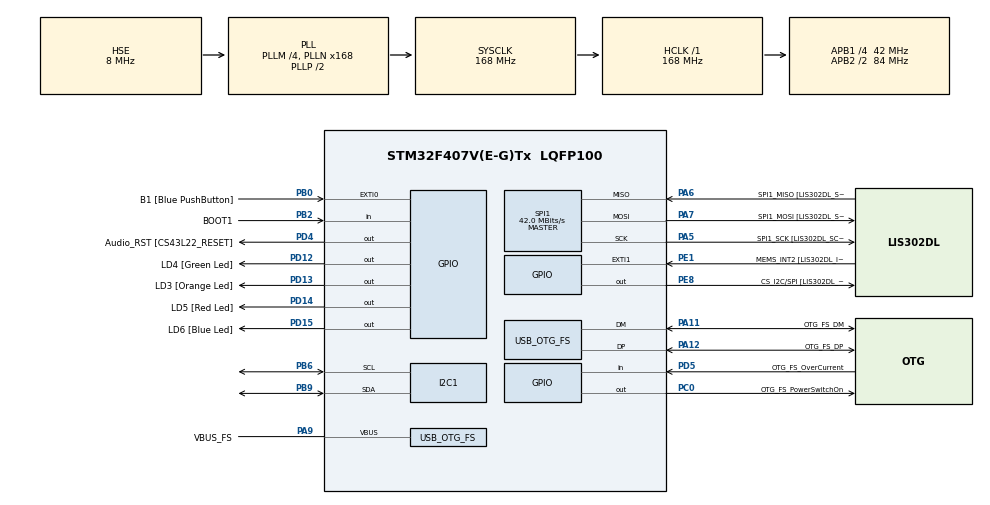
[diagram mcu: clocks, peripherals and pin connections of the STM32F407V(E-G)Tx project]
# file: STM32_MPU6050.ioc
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Mcu.Family=STM32F4
Mcu.Name=STM32F407V(E-G)Tx
Mcu.Package=LQFP100
NVIC.OTG_FS_IRQn=true\:0\:0\:false\:false\:true\:true\:true
NVIC.PriorityGroup=NVIC_PRIORITYGROUP_0
PA10.GPIO_Label=OTG_FS_ID
PA10.GPIO_Mode=GPIO_MODE_AF_PP
PA10.GPIO_PuPd=GPIO_NOPULL
PA10.GPIO_Speed=GPIO_SPEED_FREQ_LOW
PA10.Signal=USB_OTG_FS_ID
PA11.GPIO_Label=OTG_FS_DM
PA11.GPIO_Mode=GPIO_MODE_AF_PP
PA11.GPIO_PuPd=GPIO_NOPULL
PA11.GPIO_Speed=GPIO_SPEED_FREQ_LOW
PA11.Mode=Host_Only
PA11.Signal=USB_OTG_FS_DM
PA12.GPIO_Label=OTG_FS_DP
PA12.GPIO_Mode=GPIO_MODE_AF_PP
PA12.GPIO_PuPd=GPIO_NOPULL
PA12.GPIO_Speed=GPIO_SPEED_FREQ_LOW
PA12.Mode=Host_Only
PA12.Signal=USB_OTG_FS_DP
PA13.GPIO_Label=SWDIO
PA13.Mode=Serial_Wire
PA13.Signal=SYS_JTMS-SWDIO
PA14.GPIO_Label=SWCLK
PA14.Mode=Serial_Wire
PA14.Signal=SYS_JTCK-SWCLK
PA4.GPIO_Label=I2S3_WS [CS43L22_LRCK]
PA4.GPIO_Mode=GPIO_MODE_AF_PP
PA4.GPIO_PuPd=GPIO_NOPULL
PA4.GPIO_Speed=GPIO_SPEED_FREQ_LOW
PA4.Signal=I2S3_WS
PA5.GPIO_Label=SPI1_SCK [LIS302DL_SCL/SPC]
PA5.GPIO_Mode=GPIO_MODE_AF_PP
PA5.GPIO_PuPd=GPIO_NOPULL
PA5.GPIO_Speed=GPIO_SPEED_FREQ_LOW
PA5.Mode=Full_Duplex_Master
PA5.Signal=SPI1_SCK
PA6.GPIO_Label=SPI1_MISO [LIS302DL_SDO]
PA6.GPIO_Mode=GPIO_MODE_AF_PP
PA6.GPIO_PuPd=GPIO_NOPULL
PA6.GPIO_Speed=GPIO_SPEED_FREQ_LOW
PA6.Mode=Full_Duplex_Master
PA6.Signal=SPI1_MISO
PA7.GPIO_Label=SPI1_MOSI [LIS302DL_SDA/SDI/SDO]
PA7.GPIO_Mode=GPIO_MODE_AF_PP
PA7.GPIO_PuPd=GPIO_NOPULL
PA7.GPIO_Speed=GPIO_SPEED_FREQ_LOW
PA7.Mode=Full_Duplex_Master
PA7.Signal=SPI1_MOSI
PA9.GPIO_Label=VBUS_FS
PA9.GPIO_Mode=GPIO_MODE_INPUT
PA9.GPIO_PuPd=GPIO_NOPULL
PA9.Mode=Activate_VBUS
PA9.Signal=USB_OTG_FS_VBUS
PB0.GPIO_Label=B1 [Blue PushButton]
PB0.GPIO_ModeDefaultEXTI=GPIO_MODE_EVT_RISING
PB0.GPIO_PuPd=GPIO_NOPULL
PB0.Signal=GPXTI0
PB10.GPIO_Label=CLK_IN [MP45DT02_CLK]
PB10.GPIO_Mode=GPIO_MODE_AF_PP
PB10.GPIO_PuPd=GPIO_NOPULL
PB10.GPIO_Speed=GPIO_SPEED_FREQ_LOW
PB10.Signal=I2S2_CK
PB2.GPIO_Label=BOOT1
PB2.GPIO_Mode=GPIO_MODE_INPUT
PB2.GPIO_PuPd=GPIO_NOPULL
PB2.Signal=GPIO_Input
PB3.GPIO_Label=SWO
PB3.Signal=SYS_JTDO-SWO
PB6.Mode=I2C
PB6.Signal=I2C1_SCL
PB9.Mode=I2C
PB9.Signal=I2C1_SDA
PC0.GPIO_Label=OTG_FS_PowerSwitchOn
PC0.GPIO_PuPd=GPIO_NOPULL
PC0.GPIO_Speed=GPIO_SPEED_FREQ_LOW
PC0.PinState=GPIO_PIN_SET
PC0.Signal=GPIO_Output
PC10.GPIO_Label=I2S3_SCK [CS43L22_SCLK]
PC10.GPIO_Mode=GPIO_MODE_AF_PP
PC10.GPIO_PuPd=GPIO_NOPULL
PC10.GPIO_Speed=GPIO_SPEED_FREQ_LOW
PC10.Signal=I2S3_CK
PC12.GPIO_Label=I2S3_SD [CS43L22_SDIN]
PC12.GPIO_Mode=GPIO_MODE_AF_PP
PC12.GPIO_PuPd=GPIO_NOPULL
PC12.GPIO_Speed=GPIO_SPEED_FREQ_LOW
PC12.Signal=I2S3_SD
PC14-OSC32_IN.GPIO_Label=PC14-OSC32_IN
PC14-OSC32_IN.Signal=RCC_OSC32_IN
PC15-OSC32_OUT.GPIO_Label=PC15-OSC32_OUT
PC15-OSC32_OUT.Signal=RCC_OSC32_OUT
PC3.GPIO_Label=PDM_OUT [MP45DT02_DOUT]
PC3.GPIO_Mode=GPIO_MODE_AF_PP
PC3.GPIO_PuPd=GPIO_NOPULL
PC3.GPIO_Speed=GPIO_SPEED_FREQ_LOW
PC3.Signal=I2S2_SD
PC7.GPIO_Label=I2S3_MCK [CS43L22_MCLK]
PC7.GPIO_Mode=GPIO_MODE_AF_PP
PC7.GPIO_PuPd=GPIO_NOPULL
PC7.GPIO_Speed=GPIO_SPEED_FREQ_LOW
PC7.Signal=I2S3_MCK
PD12.GPIO_Label=LD4 [Green Led]
PD12.GPIO_PuPd=GPIO_NOPULL
PD12.GPIO_Speed=GPIO_SPEED_FREQ_LOW
PD12.Signal=GPIO_Output
PD13.GPIO_Label=LD3 [Orange Led]
PD13.GPIO_PuPd=GPIO_NOPULL
PD13.GPIO_Speed=GPIO_SPEED_FREQ_LOW
PD13.Signal=GPIO_Output
PD14.GPIO_Label=LD5 [Red Led]
PD14.GPIO_PuPd=GPIO_NOPULL
PD14.GPIO_Speed=GPIO_SPEED_FREQ_LOW
PD14.Signal=GPIO_Output
PD15.GPIO_Label=LD6 [Blue Led]
PD15.GPIO_PuPd=GPIO_NOPULL
PD15.GPIO_Speed=GPIO_SPEED_FREQ_LOW
PD15.Signal=GPIO_Output
PD4.GPIO_Label=Audio_RST [CS43L22_RESET]
PD4.GPIO_PuPd=GPIO_NOPULL
PD4.GPIO_Speed=GPIO_SPEED_FREQ_LOW
PD4.Signal=GPIO_Output
PD5.GPIO_Label=OTG_FS_OverCurrent
PD5.GPIO_Mode=GPIO_MODE_INPUT
PD5.GPIO_PuPd=GPIO_NOPULL
PD5.Signal=GPIO_Input
PE1.GPIO_Label=MEMS_INT2 [LIS302DL_INT2]
PE1.GPIO_ModeDefaultEXTI=GPIO_MODE_EVT_RISING
PE1.GPIO_PuPd=GPIO_NOPULL
PE1.Signal=GPXTI1
PE8.GPIO_Label=CS_I2C/SPI [LIS302DL_CS_I2C/SPI]
PE8.GPIO_PuPd=GPIO_NOPULL
PE8.GPIO_Speed=GPIO_SPEED_FREQ_LOW
PE8.Signal=GPIO_Output
PH0-OSC_IN.GPIO_Label=PH0-OSC_IN
PH0-OSC_IN.Mode=HSE-External-Oscillator
PH0-OSC_IN.Signal=RCC_OSC_IN
PH1-OSC_OUT.GPIO_Label=PH1-OSC_OUT
PH1-OSC_OUT.Mode=HSE-External-Oscillator
PH1-OSC_OUT.Signal=RCC_OSC_OUT
ProjectManager.HeapSize=0x200
ProjectManager.StackSize=0x400
ProjectManager.TargetToolchain=STM32CubeIDE
RCC.48MHZClocksFreq_Value=48000000
RCC.AHBFreq_Value=168000000
RCC.APB1CLKDivider=RCC_HCLK_DIV4
RCC.APB1Freq_Value=42000000
RCC.APB1TimFreq_Value=84000000
RCC.APB2CLKDivider=RCC_HCLK_DIV2
RCC.APB2Freq_Value=84000000
RCC.APB2TimFreq_Value=168000000
RCC.CortexFreq_Value=168000000
RCC.HCLKFreq_Value=168000000
RCC.HSE_VALUE=8000000
RCC.HSI_VALUE=16000000
RCC.PLLI2SN=50
RCC.PLLM=4
RCC.PLLN=168
RCC.PLLQ=7
RCC.SYSCLKFreq_VALUE=168000000
RCC.SYSCLKSource=RCC_SYSCLKSOURCE_PLLCLK
RCC.VCOOutputFreq_Value=336000000
SPI1.BaudRatePrescaler-Full_Duplex_Master=SPI_BAUDRATEPRESCALER_2
SPI1.CalculateBaudRate=42.0 MBits/s
SPI1.CalculateBaudRate-Full_Duplex_Master=42.0 MBits/s
SPI1.Direction=SPI_DIRECTION_2LINES
SPI1.Mode=SPI_MODE_MASTER
SPI1.Mode-Full_Duplex_Master=SPI_MODE_MASTER
SPI1.VirtualType=VM_MASTER
USB_HOST.BSP.number=1
USB_HOST.USBH_HandleTypeDef-CDC_FS=hUsbHostFS
USB_HOST.VirtualModeFS=Cdc
USB_HOST0.BSP.STBoard=false
USB_HOST0.BSP.api=Unknown
USB_HOST0.BSP.i2caddr=0
USB_HOST0.BSP.i2creg=0
USB_HOST0.BSP.instance=PC0
USB_HOST0.BSP.ip=GPIO
USB_HOST0.BSP.mode=Output
USB_HOST0.BSP.name=Drive_VBUS_FS
USB_HOST0.BSP.solution=PC0
USB_OTG_FS.VirtualMode=Host_Only
USB_OTG_FS.phy_itface=HCD_PHY_EMBEDDED
VP_USB_HOST_VS_USB_HOST_CDC_FS.Mode=CDC_FS
board=STM32F407G-DISC1

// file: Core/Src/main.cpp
/* USER CODE BEGIN Header */
/**
  ******************************************************************************
  * @file           : main.c
  * @brief          : Main program body
  ******************************************************************************
  * @attention
  *
  * <h2><center>&copy; Copyright (c) 2021 STMicroelectronics.
  * All rights reserved.</center></h2>
  *
  * This software component is licensed by ST under Ultimate Liberty license
  * SLA0044, the "License"; You may not use this file except in compliance with
  * the License. You may obtain a copy of the License at:
  *                             www.st.com/SLA0044
  *
  ******************************************************************************
  */
/* USER CODE END Header */
#include "main.h"
#include "usb_host.h"

I2C_HandleTypeDef hi2c1;

SPI_HandleTypeDef hspi1;

void SystemClock_Config(void);
static void MX_GPIO_Init(void);
static void MX_I2C1_Init(void);
static void MX_SPI1_Init(void);
void MX_USB_HOST_Process(void);

/* USER CODE BEGIN PFP */

#define MPU6050_ADDR 0xD0
#define SMPLRT_DIV_REG 0x19
#define GYRO_CONFIG_REG 0x1B
#define ACCEL_CONFIG_REG 0x1C
#define ACCEL_XOUT_H_REG 0x3B
#define TEMP_OUT_H_REG 0x41
#define GYRO_XOUT_H_REG 0x43
#define PWR_MGMT_1_REG 0x6B
#define WHO_AM_I_REG 0x75

int16_t Accel_X_RAW;
int16_t Accel_Y_RAW;
int16_t Accel_Z_RAW;
int16_t Gyro_X_RAW;
int16_t Gyro_Y_RAW;
int16_t Gyro_Z_RAW;

float Ax;
float Ay;
float Az;
float Gx;
float Gy;
float Gz;

void MPU6050_Init()
{
	uint8_t check, Data;

	HAL_I2C_Mem_Read (&hi2c1, MPU6050_ADDR,WHO_AM_I_REG,1, &check, 1, 1000);

	if(check == 104)
	{
		Data = 0;
		HAL_I2C_Mem_Write(&hi2c1, MPU6050_ADDR, PWR_MGMT_1_REG, 1,&Data, 1, 1000);

		Data = 0x07;
		HAL_I2C_Mem_Write(&hi2c1, MPU6050_ADDR, SMPLRT_DIV_REG, 1, &Data, 1, 1000);

		Data = 0x00;
		HAL_I2C_Mem_Write(&hi2c1, MPU6050_ADDR, ACCEL_CONFIG_REG, 1, &Data, 1, 1000);

		Data = 0x00;
		HAL_I2C_Mem_Write(&hi2c1, MPU6050_ADDR, GYRO_CONFIG_REG, 1, &Data, 1, 1000);
	}
}

void MPU6050_Read_Accel()
{
	uint8_t Rec_Data[6];

	HAL_I2C_Mem_Read (&hi2c1, MPU6050_ADDR, ACCEL_XOUT_H_REG, 1, Rec_Data, 6, 1000);

	Accel_X_RAW = (int16_t)(Rec_Data[0] << 8 | Rec_Data [1]);
	Accel_Y_RAW = (int16_t)(Rec_Data[2] << 8 | Rec_Data [3]);
	Accel_Z_RAW = (int16_t)(Rec_Data[4] << 8 | Rec_Data [5]);

	/*** convert the RAW values into acceleration in 'g'
	     we have to divide according to the Full scale value set in FS_SEL
	     I have configured FS_SEL = 0. So I am dividing by 16384.0
	     for more details check ACCEL_CONFIG Register              ****/

	Ax = Accel_X_RAW/16384.0;  // get the float g
	Ay = Accel_Y_RAW/16384.0;
	Az = Accel_Z_RAW/16384.0;
}

void MPU6050_Read_Gyro()
{
	uint8_t Rec_Data[6];

	HAL_I2C_Mem_Read (&hi2c1, MPU6050_ADDR, GYRO_XOUT_H_REG, 1, Rec_Data, 6, 1000);

	Gyro_X_RAW = (int16_t)(Rec_Data[0] << 8 | Rec_Data [1]);
	Gyro_Y_RAW = (int16_t)(Rec_Data[2] << 8 | Rec_Data [3]);
	Gyro_Z_RAW = (int16_t)(Rec_Data[4] << 8 | Rec_Data [5]);

	/*** convert the RAW values into dps (°/s)
	     we have to divide according to the Full scale value set in FS_SEL
	     I have configured FS_SEL = 0. So I am dividing by 131.0
	     for more details check GYRO_CONFIG Register              ****/

	Gx = Gyro_X_RAW/131.0;
	Gy = Gyro_Y_RAW/131.0;
	Gz = Gyro_Z_RAW/131.0;
}
/* USER CODE END PFP */

int main(void)
{

  /* MCU Configuration--------------------------------------------------------*/

  /* Reset of all peripherals, Initializes the Flash interface and the Systick. */
  HAL_Init();

  /* Configure the system clock */
  SystemClock_Config();

  /* Initialize all configured peripherals */
  MX_GPIO_Init();
  MX_I2C1_Init();
  MX_SPI1_Init();
  MX_USB_HOST_Init();
  /* USER CODE BEGIN 2 */
  MPU6050_Init();
  /* USER CODE END 2 */

  /* Infinite loop */
  while (1)
  {
    MX_USB_HOST_Process();

    /* USER CODE BEGIN 3 */
    MPU6050_Read_Accel();
    MPU6050_Read_Gyro();

    if(Ax > 0)
    {
    	HAL_GPIO_WritePin(LD3_GPIO_Port, LD3_Pin, GPIO_PIN_RESET);
    	HAL_GPIO_WritePin(LD6_GPIO_Port, LD6_Pin, GPIO_PIN_SET);
    }
    else
    {
    	HAL_GPIO_WritePin(LD6_GPIO_Port, LD6_Pin, GPIO_PIN_RESET);
    	HAL_GPIO_WritePin(LD3_GPIO_Port, LD3_Pin, GPIO_PIN_SET);
    }

    if(Ay > 0)
	{
		HAL_GPIO_WritePin(LD5_GPIO_Port, LD5_Pin, GPIO_PIN_RESET);
		HAL_GPIO_WritePin(LD4_GPIO_Port, LD4_Pin, GPIO_PIN_SET);
	}
	else
	{
		HAL_GPIO_WritePin(LD4_GPIO_Port, LD4_Pin, GPIO_PIN_RESET);
		HAL_GPIO_WritePin(LD5_GPIO_Port, LD5_Pin, GPIO_PIN_SET);
	}

  }
  /* USER CODE END 3 */
}

void SystemClock_Config(void)
{
  RCC_OscInitTypeDef RCC_OscInitStruct = {0};
  RCC_ClkInitTypeDef RCC_ClkInitStruct = {0};

  /** Configure the main internal regulator output voltage
  */
  __HAL_RCC_PWR_CLK_ENABLE();
  __HAL_PWR_VOLTAGESCALING_CONFIG(PWR_REGULATOR_VOLTAGE_SCALE1);
  /** Initializes the RCC Oscillators according to the specified parameters
  * in the RCC_OscInitTypeDef structure.
  */
  RCC_OscInitStruct.OscillatorType = RCC_OSCILLATORTYPE_HSE;
  RCC_OscInitStruct.HSEState = RCC_HSE_ON;
  RCC_OscInitStruct.PLL.PLLState = RCC_PLL_ON;
  RCC_OscInitStruct.PLL.PLLSource = RCC_PLLSOURCE_HSE;
  RCC_OscInitStruct.PLL.PLLM = 4;
  RCC_OscInitStruct.PLL.PLLN = 168;
  RCC_OscInitStruct.PLL.PLLP = RCC_PLLP_DIV2;
  RCC_OscInitStruct.PLL.PLLQ = 7;
  if (HAL_RCC_OscConfig(&RCC_OscInitStruct) != HAL_OK)
  {
    Error_Handler();
  }
  /** Initializes the CPU, AHB and APB buses clocks
  */
  RCC_ClkInitStruct.ClockType = RCC_CLOCKTYPE_HCLK|RCC_CLOCKTYPE_SYSCLK
                              |RCC_CLOCKTYPE_PCLK1|RCC_CLOCKTYPE_PCLK2;
  RCC_ClkInitStruct.SYSCLKSource = RCC_SYSCLKSOURCE_PLLCLK;
  RCC_ClkInitStruct.AHBCLKDivider = RCC_SYSCLK_DIV1;
  RCC_ClkInitStruct.APB1CLKDivider = RCC_HCLK_DIV4;
  RCC_ClkInitStruct.APB2CLKDivider = RCC_HCLK_DIV2;

  if (HAL_RCC_ClockConfig(&RCC_ClkInitStruct, FLASH_LATENCY_5) != HAL_OK)
  {
    Error_Handler();
  }
}

static void MX_I2C1_Init(void)
{

  hi2c1.Instance = I2C1;
  hi2c1.Init.ClockSpeed = 100000;
  hi2c1.Init.DutyCycle = I2C_DUTYCYCLE_2;
  hi2c1.Init.OwnAddress1 = 0;
  hi2c1.Init.AddressingMode = I2C_ADDRESSINGMODE_7BIT;
  hi2c1.Init.DualAddressMode = I2C_DUALADDRESS_DISABLE;
  hi2c1.Init.OwnAddress2 = 0;
  hi2c1.Init.GeneralCallMode = I2C_GENERALCALL_DISABLE;
  hi2c1.Init.NoStretchMode = I2C_NOSTRETCH_DISABLE;
  if (HAL_I2C_Init(&hi2c1) != HAL_OK)
  {
    Error_Handler();
  }

}

static void MX_SPI1_Init(void)
{

  /* SPI1 parameter configuration*/
  hspi1.Instance = SPI1;
  hspi1.Init.Mode = SPI_MODE_MASTER;
  hspi1.Init.Direction = SPI_DIRECTION_2LINES;
  hspi1.Init.DataSize = SPI_DATASIZE_8BIT;
  hspi1.Init.CLKPolarity = SPI_POLARITY_LOW;
  hspi1.Init.CLKPhase = SPI_PHASE_1EDGE;
  hspi1.Init.NSS = SPI_NSS_SOFT;
  hspi1.Init.BaudRatePrescaler = SPI_BAUDRATEPRESCALER_2;
  hspi1.Init.FirstBit = SPI_FIRSTBIT_MSB;
  hspi1.Init.TIMode = SPI_TIMODE_DISABLE;
  hspi1.Init.CRCCalculation = SPI_CRCCALCULATION_DISABLE;
  hspi1.Init.CRCPolynomial = 10;
  if (HAL_SPI_Init(&hspi1) != HAL_OK)
  {
    Error_Handler();
  }

}

static void MX_GPIO_Init(void)
{
  GPIO_InitTypeDef GPIO_InitStruct = {0};

  /* GPIO Ports Clock Enable */
  __HAL_RCC_GPIOC_CLK_ENABLE();
  __HAL_RCC_GPIOH_CLK_ENABLE();
  __HAL_RCC_GPIOA_CLK_ENABLE();
  __HAL_RCC_GPIOB_CLK_ENABLE();
  __HAL_RCC_GPIOE_CLK_ENABLE();
  __HAL_RCC_GPIOD_CLK_ENABLE();

  /*Configure GPIO pin Output Level */
  HAL_GPIO_WritePin(OTG_FS_PowerSwitchOn_GPIO_Port, OTG_FS_PowerSwitchOn_Pin, GPIO_PIN_SET);

  /*Configure GPIO pin Output Level */
  HAL_GPIO_WritePin(CS_I2C_SPI_GPIO_Port, CS_I2C_SPI_Pin, GPIO_PIN_RESET);

  /*Configure GPIO pin Output Level */
  HAL_GPIO_WritePin(GPIOD, LD4_Pin|LD3_Pin|LD5_Pin|LD6_Pin
                          |Audio_RST_Pin, GPIO_PIN_RESET);

  /*Configure GPIO pin : OTG_FS_PowerSwitchOn_Pin */
  GPIO_InitStruct.Pin = OTG_FS_PowerSwitchOn_Pin;
  GPIO_InitStruct.Mode = GPIO_MODE_OUTPUT_PP;
  GPIO_InitStruct.Pull = GPIO_NOPULL;
  GPIO_InitStruct.Speed = GPIO_SPEED_FREQ_LOW;
  HAL_GPIO_Init(OTG_FS_PowerSwitchOn_GPIO_Port, &GPIO_InitStruct);

  /*Configure GPIO pin : PDM_OUT_Pin */
  GPIO_InitStruct.Pin = PDM_OUT_Pin;
  GPIO_InitStruct.Mode = GPIO_MODE_AF_PP;
  GPIO_InitStruct.Pull = GPIO_NOPULL;
  GPIO_InitStruct.Speed = GPIO_SPEED_FREQ_LOW;
  GPIO_InitStruct.Alternate = GPIO_AF5_SPI2;
  HAL_GPIO_Init(PDM_OUT_GPIO_Port, &GPIO_InitStruct);

  /*Configure GPIO pin : I2S3_WS_Pin */
  GPIO_InitStruct.Pin = I2S3_WS_Pin;
  GPIO_InitStruct.Mode = GPIO_MODE_AF_PP;
  GPIO_InitStruct.Pull = GPIO_NOPULL;
  GPIO_InitStruct.Speed = GPIO_SPEED_FREQ_LOW;
  GPIO_InitStruct.Alternate = GPIO_AF6_SPI3;
  HAL_GPIO_Init(I2S3_WS_GPIO_Port, &GPIO_InitStruct);

  /*Configure GPIO pin : B1_Pin */
  GPIO_InitStruct.Pin = B1_Pin;
  GPIO_InitStruct.Mode = GPIO_MODE_EVT_RISING;
  GPIO_InitStruct.Pull = GPIO_NOPULL;
  HAL_GPIO_Init(B1_GPIO_Port, &GPIO_InitStruct);

  /*Configure GPIO pin : BOOT1_Pin */
  GPIO_InitStruct.Pin = BOOT1_Pin;
  GPIO_InitStruct.Mode = GPIO_MODE_INPUT;
  GPIO_InitStruct.Pull = GPIO_NOPULL;
  HAL_GPIO_Init(BOOT1_GPIO_Port, &GPIO_InitStruct);

  /*Configure GPIO pin : CS_I2C_SPI_Pin */
  GPIO_InitStruct.Pin = CS_I2C_SPI_Pin;
  GPIO_InitStruct.Mode = GPIO_MODE_OUTPUT_PP;
  GPIO_InitStruct.Pull = GPIO_NOPULL;
  GPIO_InitStruct.Speed = GPIO_SPEED_FREQ_LOW;
  HAL_GPIO_Init(CS_I2C_SPI_GPIO_Port, &GPIO_InitStruct);

  /*Configure GPIO pin : CLK_IN_Pin */
  GPIO_InitStruct.Pin = CLK_IN_Pin;
  GPIO_InitStruct.Mode = GPIO_MODE_AF_PP;
  GPIO_InitStruct.Pull = GPIO_NOPULL;
  GPIO_InitStruct.Speed = GPIO_SPEED_FREQ_LOW;
  GPIO_InitStruct.Alternate = GPIO_AF5_SPI2;
  HAL_GPIO_Init(CLK_IN_GPIO_Port, &GPIO_InitStruct);

  /*Configure GPIO pins : LD4_Pin LD3_Pin LD5_Pin LD6_Pin
                           Audio_RST_Pin */
  GPIO_InitStruct.Pin = LD4_Pin|LD3_Pin|LD5_Pin|LD6_Pin
                          |Audio_RST_Pin;
  GPIO_InitStruct.Mode = GPIO_MODE_OUTPUT_PP;
  GPIO_InitStruct.Pull = GPIO_NOPULL;
  GPIO_InitStruct.Speed = GPIO_SPEED_FREQ_LOW;
  HAL_GPIO_Init(GPIOD, &GPIO_InitStruct);

  /*Configure GPIO pins : I2S3_MCK_Pin I2S3_SCK_Pin I2S3_SD_Pin */
  GPIO_InitStruct.Pin = I2S3_MCK_Pin|I2S3_SCK_Pin|I2S3_SD_Pin;
  GPIO_InitStruct.Mode = GPIO_MODE_AF_PP;
  GPIO_InitStruct.Pull = GPIO_NOPULL;
  GPIO_InitStruct.Speed = GPIO_SPEED_FREQ_LOW;
  GPIO_InitStruct.Alternate = GPIO_AF6_SPI3;
  HAL_GPIO_Init(GPIOC, &GPIO_InitStruct);

  /*Configure GPIO pin : OTG_FS_OverCurrent_Pin */
  GPIO_InitStruct.Pin = OTG_FS_OverCurrent_Pin;
  GPIO_InitStruct.Mode = GPIO_MODE_INPUT;
  GPIO_InitStruct.Pull = GPIO_NOPULL;
  HAL_GPIO_Init(OTG_FS_OverCurrent_GPIO_Port, &GPIO_InitStruct);

  /*Configure GPIO pin : MEMS_INT2_Pin */
  GPIO_InitStruct.Pin = MEMS_INT2_Pin;
  GPIO_InitStruct.Mode = GPIO_MODE_EVT_RISING;
  GPIO_InitStruct.Pull = GPIO_NOPULL;
  HAL_GPIO_Init(MEMS_INT2_GPIO_Port, &GPIO_InitStruct);

}

void Error_Handler(void)
{
  __disable_irq();
  while (1)
  {
  }
}

/************************ (C) COPYRIGHT STMicroelectronics *****END OF FILE****/
